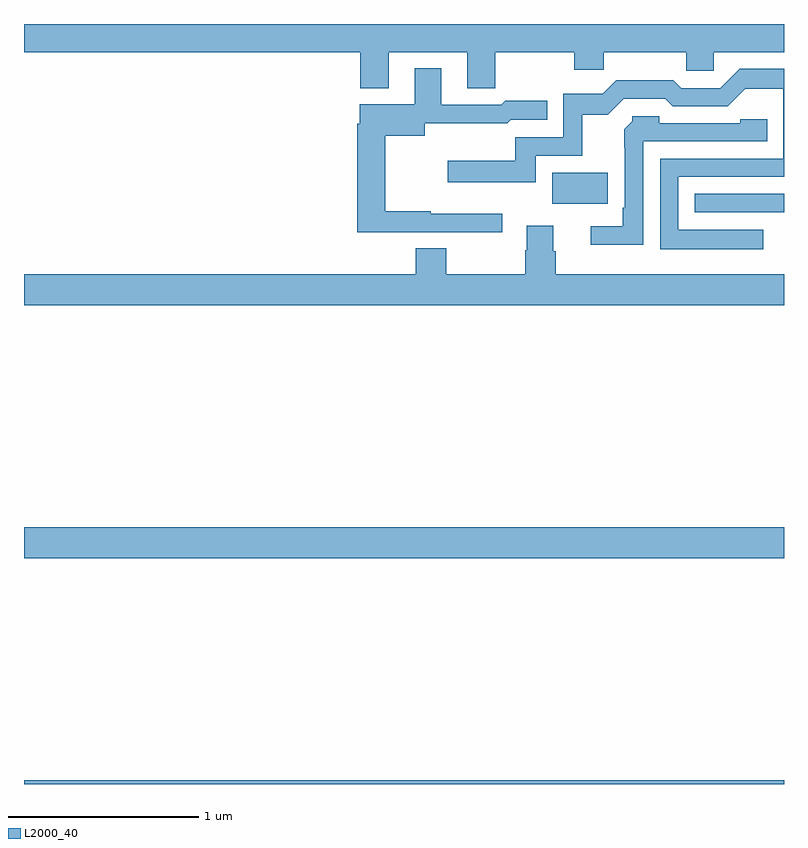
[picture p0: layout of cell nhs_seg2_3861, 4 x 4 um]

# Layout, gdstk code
import gdstk
lib = gdstk.Library(unit=1e-6, precision=1e-09)
def R(c, l, rs):  # rectangles x0, y0, x1, y1
    for r in rs: c.add(gdstk.rectangle(r[:2], r[2:], *l))
def P(c, l, *ps):  # polygons
    for p in ps: c.add(gdstk.Polygon(p, *l))
L2000_40 = (2000, 40)

nhs_seg2_3861 = lib.new_cell('nhs_seg2_3861')
R(nhs_seg2_3861, L2000_40, [(315,627.8,319,627.82), (315,628.988,319,629.152), (318.529,630.81,319,630.906), (317.779,630.854,318.072,631.018)])
P(nhs_seg2_3861, L2000_40, [(317.481,631.652),(317.896,631.652),(317.896,631.559),(318.05,631.559),(318.05,631.652),(318.485,631.652),(318.485,631.554),(318.63,631.554),(318.63,631.652),(319,631.652),(319,631.8),(315,631.8),(315,631.652),(316.769,631.652),(316.769,631.463),(316.921,631.463),(316.921,631.652),(317.333,631.652),(317.333,631.462),(317.481,631.462)],
  [(316.979,630.705),(317.518,630.705),(317.518,630.802),(317.141,630.802),(317.141,630.814),(316.901,630.814),(316.901,631.211),(317.11,631.211),(317.11,631.277),(317.543,631.277),(317.562,631.296),(317.753,631.296),(317.753,631.397),(317.534,631.397),(317.511,631.374),(317.197,631.374),(317.197,631.567),(317.057,631.567),(317.057,631.377),(316.766,631.377),(316.766,631.274),(316.754,631.274),(316.754,630.703),(316.979,630.703)],
  [(318.892,630.718),(318.444,630.718),(318.444,630.996),(319,630.996),(319,631.564),(318.768,631.564),(318.665,631.461),(318.459,631.461),(318.416,631.504),(318.118,631.504),(318.046,631.432),(317.838,631.432),(317.838,631.203),(317.586,631.203),(317.586,631.081),(317.229,631.081),(317.229,630.968),(317.694,630.968),(317.694,631.107),(317.937,631.107),(317.937,631.323),(318.072,631.323),(318.156,631.407),(318.375,631.407),(318.414,631.368),(318.705,631.368),(318.795,631.458),(318.996,631.458),(318.996,631.092),(318.348,631.092),(318.348,630.614),(318.892,630.614)],
  [(318.258,631.182),(318.911,631.182),(318.911,631.299),(318.771,631.299),(318.771,631.278),(318.344,631.278),(318.344,631.314),(318.201,631.314),(318.201,631.288),(318.16,631.247),(318.16,631.148),(318.162,631.148),(318.162,630.832),(318.15,630.832),(318.15,630.735),(317.982,630.735),(317.982,630.638),(318.258,630.638)],
  [(319,630.484),(317.798,630.484),(317.798,630.603),(317.785,630.603),(317.785,630.739),(317.645,630.739),(317.645,630.608),(317.638,630.608),(317.638,630.484),(317.223,630.484),(317.223,630.62),(317.063,630.62),(317.063,630.484),(315,630.484),(315,630.32),(319,630.32)])

lib.write_gds('nhs_seg2_3861.gds')
